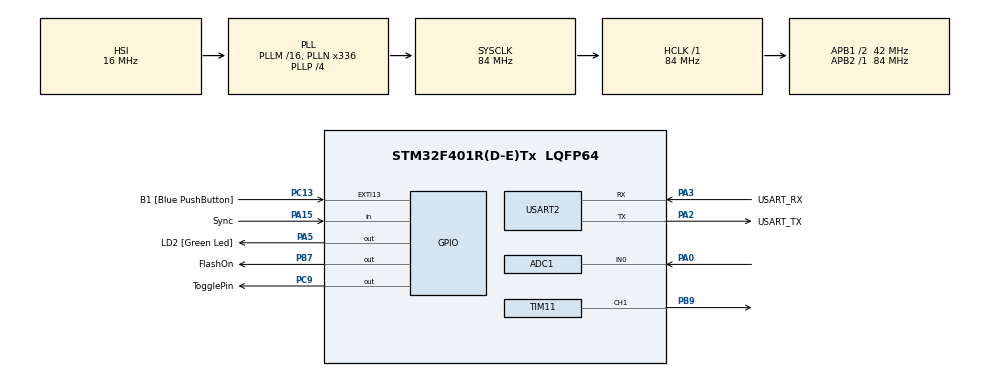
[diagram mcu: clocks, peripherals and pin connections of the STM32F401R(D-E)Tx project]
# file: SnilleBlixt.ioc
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ADC1.Channel-0\#ChannelRegularConversion=ADC_CHANNEL_0
ADC1.ClockPrescaler=ADC_CLOCK_SYNC_PCLK_DIV8
ADC1.ContinuousConvMode=ENABLE
ADC1.DMAContinuousRequests=DISABLE
ADC1.DataAlign=ADC_DATAALIGN_RIGHT
ADC1.DiscontinuousConvMode=DISABLE
ADC1.EOCSelection=ADC_EOC_SINGLE_CONV
ADC1.EnableAnalogWatchDog=false
ADC1.ExternalTrigConv=ADC_SOFTWARE_START
ADC1.ExternalTrigConvEdge=ADC_EXTERNALTRIGCONVEDGE_NONE
ADC1.InjNumberOfConversion=0
ADC1.NbrOfConversion=1
ADC1.NbrOfConversionFlag=1
ADC1.Rank-0\#ChannelRegularConversion=1
ADC1.Resolution=ADC_RESOLUTION_12B
ADC1.SamplingTime-0\#ChannelRegularConversion=ADC_SAMPLETIME_3CYCLES
ADC1.ScanConvMode=ENABLE
ADC1.master=1
FREERTOS.Tasks01=defaultTask,0,128,StartDefaultTask,Default,NULL,Dynamic,NULL,NULL;voltagePID,-3,128,StartTask02,Default,NULL,Dynamic,NULL,NULL
Mcu.Family=STM32F4
Mcu.Name=STM32F401R(D-E)Tx
Mcu.Package=LQFP64
NVIC.PriorityGroup=NVIC_PRIORITYGROUP_4
PA0-WKUP.Signal=ADCx_IN0
PA13.GPIO_Label=TMS
PA13.Signal=SYS_JTMS-SWDIO
PA14.GPIO_Label=TCK
PA14.Signal=SYS_JTCK-SWCLK
PA15.GPIO_Label=Sync
PA15.Signal=GPIO_Input
PA2.GPIO_Label=USART_TX
PA2.GPIO_Mode=GPIO_MODE_AF_PP
PA2.GPIO_PuPd=GPIO_NOPULL
PA2.GPIO_Speed=GPIO_SPEED_FREQ_LOW
PA2.Mode=Asynchronous
PA2.Signal=USART2_TX
PA3.GPIO_Label=USART_RX
PA3.GPIO_Mode=GPIO_MODE_AF_PP
PA3.GPIO_PuPd=GPIO_NOPULL
PA3.GPIO_Speed=GPIO_SPEED_FREQ_LOW
PA3.Mode=Asynchronous
PA3.Signal=USART2_RX
PA5.GPIO_Label=LD2 [Green Led]
PA5.GPIO_Mode=GPIO_MODE_OUTPUT_PP
PA5.GPIO_PuPd=GPIO_NOPULL
PA5.GPIO_Speed=GPIO_SPEED_FREQ_LOW
PA5.Signal=GPIO_Output
PB3.GPIO_Label=SWO
PB3.Signal=SYS_JTDO-SWO
PB7.GPIO_Label=FlashOn
PB7.Signal=GPIO_Output
PB9.Signal=S_TIM11_CH1
PC13-ANTI_TAMP.GPIO_Label=B1 [Blue PushButton]
PC13-ANTI_TAMP.GPIO_ModeDefaultEXTI=GPIO_MODE_IT_FALLING
PC13-ANTI_TAMP.GPIO_PuPd=GPIO_NOPULL
PC13-ANTI_TAMP.Signal=GPXTI13
PC14-OSC32_IN.Signal=RCC_OSC32_IN
PC15-OSC32_OUT.Signal=RCC_OSC32_OUT
PC9.GPIO_Label=TogglePin
PC9.Signal=GPIO_Output
PH0\ -\ OSC_IN.Signal=RCC_OSC_IN
PH1\ -\ OSC_OUT.Signal=RCC_OSC_OUT
ProjectManager.HeapSize=0x200
ProjectManager.StackSize=0x400
ProjectManager.TargetToolchain=TrueSTUDIO
RCC.AHBFreq_Value=84000000
RCC.APB1CLKDivider=RCC_HCLK_DIV2
RCC.APB1Freq_Value=42000000
RCC.APB1TimFreq_Value=84000000
RCC.APB2Freq_Value=84000000
RCC.APB2TimFreq_Value=84000000
RCC.CortexFreq_Value=84000000
RCC.HCLKFreq_Value=84000000
RCC.HSE_VALUE=8000000
RCC.HSI_VALUE=16000000
RCC.LSE_VALUE=32768
RCC.PLLN=336
RCC.PLLP=RCC_PLLP_DIV4
RCC.PLLQ=7
RCC.SYSCLKFreq_VALUE=84000000
RCC.SYSCLKSource=RCC_SYSCLKSOURCE_PLLCLK
RCC.VCOOutputFreq_Value=336000000
SH.ADCx_IN0.0=ADC1_IN0,IN0
SH.S_TIM11_CH1.0=TIM11_CH1,PWM Generation1 CH1
TIM11.Channel=TIM_CHANNEL_1
TIM11.Period=1000
TIM11.Prescaler=84
TIM11.Pulse=101
USART2.VirtualMode=VM_ASYNC
VP_ADC1_Vref_Input.Mode=IN-Vrefint
VP_FREERTOS_VS_ENABLE.Mode=Enabled
VP_TIM11_VS_ClockSourceINT.Mode=Enable_Timer
board=NUCLEO-F401RE

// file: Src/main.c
/* USER CODE BEGIN Header */
/**
 ******************************************************************************
 * @file           : main.c
 * @brief          : Main program body
 ******************************************************************************
 * This notice applies to any and all portions of this file
 * that are not between comment pairs USER CODE BEGIN and
 * USER CODE END. Other portions of this file, whether
 * inserted by the user or by software development tools
 * are owned by their respective copyright owners.
 *
 * Copyright (c) 2018 STMicroelectronics International N.V.
 * All rights reserved.
 *
 * Redistribution and use in source and binary forms, with or without
 * modification, are permitted, provided that the following conditions are met:
 *
 * 1. Redistribution of source code must retain the above copyright notice,
 *    this list of conditions and the following disclaimer.
 * 2. Redistributions in binary form must reproduce the above copyright notice,
 *    this list of conditions and the following disclaimer in the documentation
 *    and/or other materials provided with the distribution.
 * 3. Neither the name of STMicroelectronics nor the names of other
 *    contributors to this software may be used to endorse or promote products
 *    derived from this software without specific written permission.
 * 4. This software, including modifications and/or derivative works of this
 *    software, must execute solely and exclusively on microcontroller or
 *    microprocessor devices manufactured by or for STMicroelectronics.
 * 5. Redistribution and use of this software other than as permitted under
 *    this license is void and will automatically terminate your rights under
 *    this license.
 *
 * THIS SOFTWARE IS PROVIDED BY STMICROELECTRONICS AND CONTRIBUTORS "AS IS"
 * AND ANY EXPRESS, IMPLIED OR STATUTORY WARRANTIES, INCLUDING, BUT NOT
 * LIMITED TO, THE IMPLIED WARRANTIES OF MERCHANTABILITY, FITNESS FOR A
 * PARTICULAR PURPOSE AND NON-INFRINGEMENT OF THIRD PARTY INTELLECTUAL PROPERTY
 * RIGHTS ARE DISCLAIMED TO THE FULLEST EXTENT PERMITTED BY LAW. IN NO EVENT
 * SHALL STMICROELECTRONICS OR CONTRIBUTORS BE LIABLE FOR ANY DIRECT, INDIRECT,
 * INCIDENTAL, SPECIAL, EXEMPLARY, OR CONSEQUENTIAL DAMAGES (INCLUDING, BUT NOT
 * LIMITED TO, PROCUREMENT OF SUBSTITUTE GOODS OR SERVICES; LOSS OF USE, DATA,
 * OR PROFITS; OR BUSINESS INTERRUPTION) HOWEVER CAUSED AND ON ANY THEORY OF
 * LIABILITY, WHETHER IN CONTRACT, STRICT LIABILITY, OR TORT (INCLUDING
 * NEGLIGENCE OR OTHERWISE) ARISING IN ANY WAY OUT OF THE USE OF THIS SOFTWARE,
 * EVEN IF ADVISED OF THE POSSIBILITY OF SUCH DAMAGE.
 *
 ******************************************************************************
 */
/* USER CODE END Header */

#include "main.h"
#include "cmsis_os.h"

/* USER CODE BEGIN PM */
#define ever ;;
/* USER CODE END PM */

ADC_HandleTypeDef hadc1;

TIM_HandleTypeDef htim11;

UART_HandleTypeDef huart2;

osThreadId defaultTaskHandle;
osThreadId voltagePIDHandle;
/* USER CODE BEGIN PV */
/* Private variables ---------------------------------------------------------*/

/* USER CODE END PV */

void SystemClock_Config(void);
static void MX_GPIO_Init(void);
static void MX_USART2_UART_Init(void);
static void MX_ADC1_Init(void);
static void MX_TIM11_Init(void);
void StartDefaultTask(void const * argument);
void StartTask02(void const * argument);

/* USER CODE BEGIN PFP */
char str[16];
/* Private function prototypes -----------------------------------------------*/
void adjustPWM(float control) {
	uint32_t arr = htim11.Instance->ARR;// - (uint32_t) (control / 8);
//	if(arr < 100) {arr = 100;}
//	if(arr > 1000) {arr = 1000;}
//	htim11.Instance->ARR = arr;//Frequency

	uint32_t ccr1 = (uint32_t) (htim11.Instance->CCR1 + control);
//	sprintf(str, "CCR1 %ld - ", ccr1);
//				HAL_UART_Transmit(&huart2, (uint8_t*)str, 16, 1);
	if(ccr1 > 200) {ccr1 = 200;}
	if(ccr1 > (arr >> 1)) {ccr1 = arr >> 1;}
//	if(ccr1 < 0) {ccr1 = 1;}
	htim11.Instance->CCR1 = (uint32_t) ccr1;//Pulse length
}
/* USER CODE END PFP */

int main(void)
{

  /* MCU Configuration--------------------------------------------------------*/

  /* Reset of all peripherals, Initializes the Flash interface and the Systick. */
  HAL_Init();

  /* Configure the system clock */
  SystemClock_Config();

  /* Initialize all configured peripherals */
  MX_GPIO_Init();
  MX_USART2_UART_Init();
  MX_ADC1_Init();
  MX_TIM11_Init();

  /* Create the thread(s) */
  /* definition and creation of defaultTask */
  osThreadDef(defaultTask, StartDefaultTask, osPriorityNormal, 0, 128);
  defaultTaskHandle = osThreadCreate(osThread(defaultTask), NULL);

  /* definition and creation of voltagePID */
  osThreadDef(voltagePID, StartTask02, osPriorityIdle, 0, 128);
  voltagePIDHandle = osThreadCreate(osThread(voltagePID), NULL);

  /* Start scheduler */
  osKernelStart();

  /* We should never get here as control is now taken by the scheduler */

  /* Infinite loop */
  /* USER CODE BEGIN WHILE */

	/*
  Do NOT call HAL_TIM_Base_Start(), nor HAL_TIM_Base_Init(), nor any of the other non-PWM calls;
  HAL_TIM_Base_Start(&htim1);
  HAL_TIM_PWM_Start(&htim11,TIM_CHANNEL_1);
	 */

	while (1)
	{

    /* USER CODE END WHILE */

	}
}

void SystemClock_Config(void)
{
  RCC_OscInitTypeDef RCC_OscInitStruct = {0};
  RCC_ClkInitTypeDef RCC_ClkInitStruct = {0};

  /**Configure the main internal regulator output voltage
  */
  __HAL_RCC_PWR_CLK_ENABLE();
  __HAL_PWR_VOLTAGESCALING_CONFIG(PWR_REGULATOR_VOLTAGE_SCALE2);
  /**Initializes the CPU, AHB and APB busses clocks
  */
  RCC_OscInitStruct.OscillatorType = RCC_OSCILLATORTYPE_HSI;
  RCC_OscInitStruct.HSIState = RCC_HSI_ON;
  RCC_OscInitStruct.HSICalibrationValue = RCC_HSICALIBRATION_DEFAULT;
  RCC_OscInitStruct.PLL.PLLState = RCC_PLL_ON;
  RCC_OscInitStruct.PLL.PLLSource = RCC_PLLSOURCE_HSI;
  RCC_OscInitStruct.PLL.PLLM = 16;
  RCC_OscInitStruct.PLL.PLLN = 336;
  RCC_OscInitStruct.PLL.PLLP = RCC_PLLP_DIV4;
  RCC_OscInitStruct.PLL.PLLQ = 7;
  if (HAL_RCC_OscConfig(&RCC_OscInitStruct) != HAL_OK)
  {
    Error_Handler();
  }
  /**Initializes the CPU, AHB and APB busses clocks
  */
  RCC_ClkInitStruct.ClockType = RCC_CLOCKTYPE_HCLK|RCC_CLOCKTYPE_SYSCLK
                              |RCC_CLOCKTYPE_PCLK1|RCC_CLOCKTYPE_PCLK2;
  RCC_ClkInitStruct.SYSCLKSource = RCC_SYSCLKSOURCE_PLLCLK;
  RCC_ClkInitStruct.AHBCLKDivider = RCC_SYSCLK_DIV1;
  RCC_ClkInitStruct.APB1CLKDivider = RCC_HCLK_DIV2;
  RCC_ClkInitStruct.APB2CLKDivider = RCC_HCLK_DIV1;

  if (HAL_RCC_ClockConfig(&RCC_ClkInitStruct, FLASH_LATENCY_2) != HAL_OK)
  {
    Error_Handler();
  }
}

static void MX_ADC1_Init(void)
{

  ADC_ChannelConfTypeDef sConfig = {0};

  /**Configure the global features of the ADC (Clock, Resolution, Data Alignment and number of conversion)
  */
  hadc1.Instance = ADC1;
  hadc1.Init.ClockPrescaler = ADC_CLOCK_SYNC_PCLK_DIV8;
  hadc1.Init.Resolution = ADC_RESOLUTION_12B;
  hadc1.Init.ScanConvMode = ENABLE;
  hadc1.Init.ContinuousConvMode = ENABLE;
  hadc1.Init.DiscontinuousConvMode = DISABLE;
  hadc1.Init.ExternalTrigConvEdge = ADC_EXTERNALTRIGCONVEDGE_NONE;
  hadc1.Init.ExternalTrigConv = ADC_SOFTWARE_START;
  hadc1.Init.DataAlign = ADC_DATAALIGN_RIGHT;
  hadc1.Init.NbrOfConversion = 1;
  hadc1.Init.DMAContinuousRequests = DISABLE;
  hadc1.Init.EOCSelection = ADC_EOC_SINGLE_CONV;
  if (HAL_ADC_Init(&hadc1) != HAL_OK)
  {
    Error_Handler();
  }
  /**Configure for the selected ADC regular channel its corresponding rank in the sequencer and its sample time.
  */
  sConfig.Channel = ADC_CHANNEL_0;
  sConfig.Rank = 1;
  sConfig.SamplingTime = ADC_SAMPLETIME_3CYCLES;
  if (HAL_ADC_ConfigChannel(&hadc1, &sConfig) != HAL_OK)
  {
    Error_Handler();
  }

}

static void MX_TIM11_Init(void)
{

  TIM_OC_InitTypeDef sConfigOC = {0};

  htim11.Instance = TIM11;
  htim11.Init.Prescaler = 84;
  htim11.Init.CounterMode = TIM_COUNTERMODE_UP;
  htim11.Init.Period = 1000;
  htim11.Init.ClockDivision = TIM_CLOCKDIVISION_DIV1;
  if (HAL_TIM_Base_Init(&htim11) != HAL_OK)
  {
    Error_Handler();
  }
  if (HAL_TIM_PWM_Init(&htim11) != HAL_OK)
  {
    Error_Handler();
  }
  sConfigOC.OCMode = TIM_OCMODE_PWM1;
  sConfigOC.Pulse = 101;
  sConfigOC.OCPolarity = TIM_OCPOLARITY_HIGH;
  sConfigOC.OCFastMode = TIM_OCFAST_DISABLE;
  if (HAL_TIM_PWM_ConfigChannel(&htim11, &sConfigOC, TIM_CHANNEL_1) != HAL_OK)
  {
    Error_Handler();
  }
  HAL_TIM_MspPostInit(&htim11);

}

static void MX_USART2_UART_Init(void)
{

  huart2.Instance = USART2;
  huart2.Init.BaudRate = 115200;
  huart2.Init.WordLength = UART_WORDLENGTH_8B;
  huart2.Init.StopBits = UART_STOPBITS_1;
  huart2.Init.Parity = UART_PARITY_NONE;
  huart2.Init.Mode = UART_MODE_TX_RX;
  huart2.Init.HwFlowCtl = UART_HWCONTROL_NONE;
  huart2.Init.OverSampling = UART_OVERSAMPLING_16;
  if (HAL_UART_Init(&huart2) != HAL_OK)
  {
    Error_Handler();
  }

}

static void MX_GPIO_Init(void)
{
  GPIO_InitTypeDef GPIO_InitStruct = {0};

  /* GPIO Ports Clock Enable */
  __HAL_RCC_GPIOC_CLK_ENABLE();
  __HAL_RCC_GPIOH_CLK_ENABLE();
  __HAL_RCC_GPIOA_CLK_ENABLE();
  __HAL_RCC_GPIOB_CLK_ENABLE();

  /*Configure GPIO pin Output Level */
  HAL_GPIO_WritePin(LD2_GPIO_Port, LD2_Pin, GPIO_PIN_RESET);

  /*Configure GPIO pin Output Level */
  HAL_GPIO_WritePin(TogglePin_GPIO_Port, TogglePin_Pin, GPIO_PIN_RESET);

  /*Configure GPIO pin Output Level */
  HAL_GPIO_WritePin(FlashOn_GPIO_Port, FlashOn_Pin, GPIO_PIN_RESET);

  /*Configure GPIO pin : B1_Pin */
  GPIO_InitStruct.Pin = B1_Pin;
  GPIO_InitStruct.Mode = GPIO_MODE_IT_FALLING;
  GPIO_InitStruct.Pull = GPIO_NOPULL;
  HAL_GPIO_Init(B1_GPIO_Port, &GPIO_InitStruct);

  /*Configure GPIO pin : LD2_Pin */
  GPIO_InitStruct.Pin = LD2_Pin;
  GPIO_InitStruct.Mode = GPIO_MODE_OUTPUT_PP;
  GPIO_InitStruct.Pull = GPIO_NOPULL;
  GPIO_InitStruct.Speed = GPIO_SPEED_FREQ_LOW;
  HAL_GPIO_Init(LD2_GPIO_Port, &GPIO_InitStruct);

  /*Configure GPIO pin : TogglePin_Pin */
  GPIO_InitStruct.Pin = TogglePin_Pin;
  GPIO_InitStruct.Mode = GPIO_MODE_OUTPUT_PP;
  GPIO_InitStruct.Pull = GPIO_NOPULL;
  GPIO_InitStruct.Speed = GPIO_SPEED_FREQ_LOW;
  HAL_GPIO_Init(TogglePin_GPIO_Port, &GPIO_InitStruct);

  /*Configure GPIO pin : Sync_Pin */
  GPIO_InitStruct.Pin = Sync_Pin;
  GPIO_InitStruct.Mode = GPIO_MODE_INPUT;
  GPIO_InitStruct.Pull = GPIO_NOPULL;
  HAL_GPIO_Init(Sync_GPIO_Port, &GPIO_InitStruct);

  /*Configure GPIO pin : FlashOn_Pin */
  GPIO_InitStruct.Pin = FlashOn_Pin;
  GPIO_InitStruct.Mode = GPIO_MODE_OUTPUT_PP;
  GPIO_InitStruct.Pull = GPIO_NOPULL;
  GPIO_InitStruct.Speed = GPIO_SPEED_FREQ_LOW;
  HAL_GPIO_Init(FlashOn_GPIO_Port, &GPIO_InitStruct);

}

void StartDefaultTask(void const * argument)
{

  /* USER CODE BEGIN 5 */
	HAL_TIM_PWM_Start(&htim11,TIM_CHANNEL_1);

	int i = 0, timestamp = 1001;
	char syncSensed = 0;
	/* Infinite loop */
	for(;;)
	{
		i++;
		if (i == 2000) {
			i = 0;
//			HAL_GPIO_WritePin(FlashOn_GPIO_Port, FlashOn_Pin, 1);
		}
		if ((i == 50) | (i == timestamp)) {
			HAL_GPIO_WritePin(FlashOn_GPIO_Port, FlashOn_Pin, 0);

		}
		if(!syncSensed & (HAL_GPIO_ReadPin(Sync_GPIO_Port, Sync_Pin) == 1)) {
			HAL_GPIO_WritePin(FlashOn_GPIO_Port, FlashOn_Pin, 1);
			timestamp = (i + 25) % 2000;
			syncSensed = 1;
		}
		if(syncSensed & (HAL_GPIO_ReadPin(Sync_GPIO_Port, Sync_Pin) == 0)) {
			syncSensed = 0;
		}
		osDelay(1);
	}
  /* USER CODE END 5 */
}

void StartTask02(void const * argument)
{
  /* USER CODE BEGIN StartTask02 */
	/*
	 * TIM1->ARR = PERIOD;  Set the Autoreload value
	 * TIM1->CCR1 = PULSE;  Set the Pulse value
	 */
//	char str[40];
	uint32_t ADCValue, setPoint = 2000;
	int32_t errVal, lastError = setPoint, integral = 0, derivative;
	float control;
	const float kp = 0.5;
	const float ki = 0.0;
	const float kd = 0.0;
	/* Infinite loop */
	for(ever)
	{
		HAL_ADC_Start(&hadc1);
		if (HAL_ADC_PollForConversion(&hadc1, 1) == HAL_OK)
		{
			ADCValue = HAL_ADC_GetValue(&hadc1);
			errVal = setPoint - ADCValue;
			integral += errVal;
			derivative = errVal - lastError;
			control = kp * errVal + ki * integral + kd * derivative;
			adjustPWM(control);
			lastError = errVal;

//			sprintf(str, "%ld, %ld\n", ADCValue, (int32_t) control);//, errVal, integral, derivative);
//			HAL_UART_Transmit(&huart2, (uint8_t*)str, 16, 1);
		}
		osDelay(100);
	}
  /* USER CODE END StartTask02 */
}

void Error_Handler(void)
{
	while(1)
	{
	}
}

/************************ (C) COPYRIGHT STMicroelectronics *****END OF FILE****/
